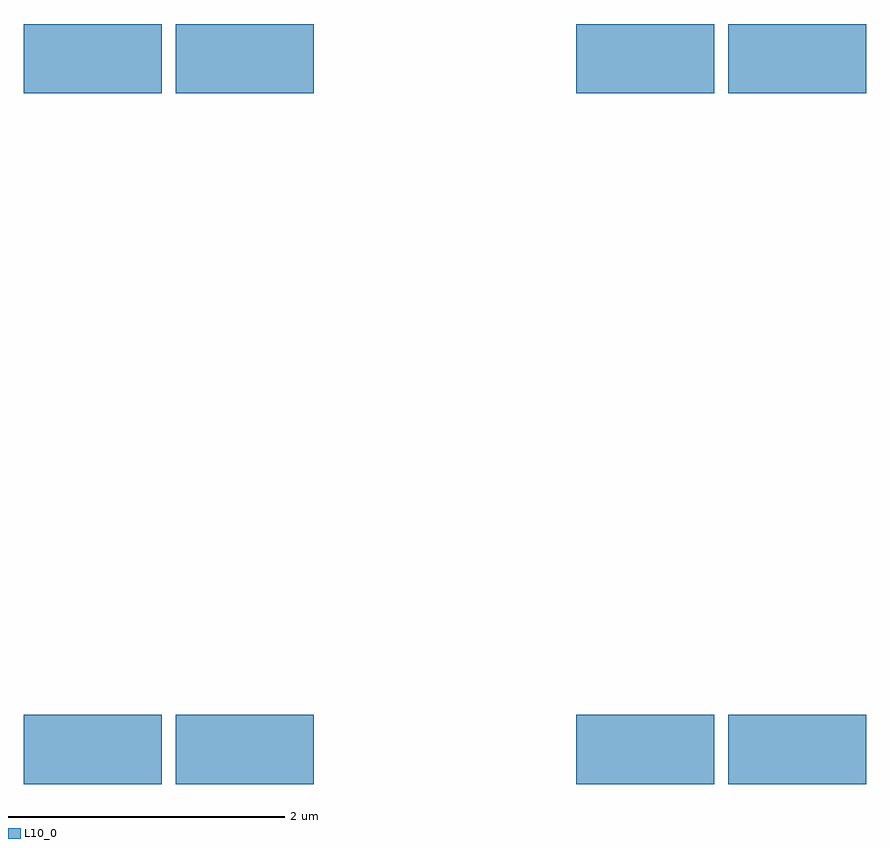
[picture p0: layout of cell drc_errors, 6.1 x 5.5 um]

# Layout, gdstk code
import gdstk
lib = gdstk.Library(unit=1e-6, precision=1e-09)
def R(c, l, rs):  # rectangles x0, y0, x1, y1
    for r in rs: c.add(gdstk.rectangle(r[:2], r[2:], *l))
L10_0 = (10, 0)

drc_errors_sub = lib.new_cell('drc_errors_sub')
R(drc_errors_sub, L10_0, [(0,0,1,0.5), (1.1,0,2.1,0.5), (4,0,5,0.5), (5.1,0,6.1,0.5)])

drc_errors = lib.new_cell('drc_errors')
R(drc_errors, L10_0, [(0,0,1,0.5), (1.1,0,2.1,0.5), (4,0,5,0.5), (5.1,0,6.1,0.5)])
drc_errors.add(gdstk.Reference(drc_errors_sub, (0,5)))

lib.write_gds('drc_errors.gds')
